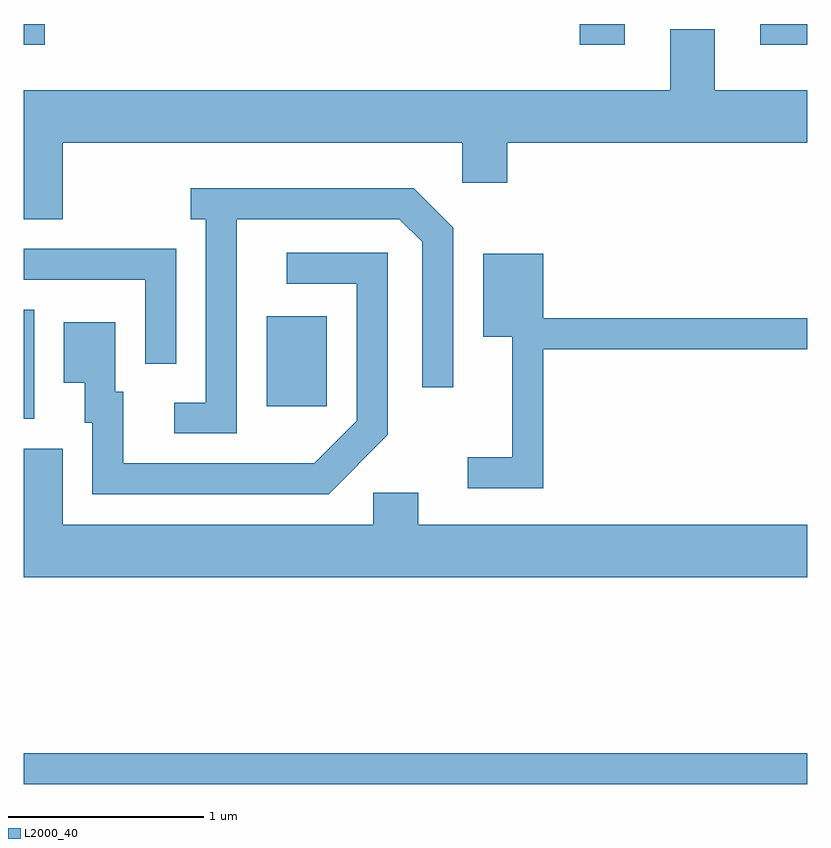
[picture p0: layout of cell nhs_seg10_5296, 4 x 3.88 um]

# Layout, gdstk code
import gdstk
lib = gdstk.Library(unit=1e-6, precision=1e-09)
def R(c, l, rs):  # rectangles x0, y0, x1, y1
    for r in rs: c.add(gdstk.rectangle(r[:2], r[2:], *l))
def P(c, l, *ps):  # polygons
    for p in ps: c.add(gdstk.Polygon(p, *l))
L2000_40 = (2000, 40)

nhs_seg10_5296 = lib.new_cell('nhs_seg10_5296')
R(nhs_seg10_5296, L2000_40, [(341.611,2110.641,345.611,2110.799), (341.611,2112.506,341.664,2113.064), (342.851,2112.571,343.159,2113.029), (341.611,2114.416,341.718,2114.522), (344.451,2114.416,344.679,2114.522), (345.371,2114.416,345.611,2114.522)])
P(nhs_seg10_5296, L2000_40, [(341.809,2113.916),(343.851,2113.916),(343.851,2113.711),(344.079,2113.711),(344.079,2113.916),(345.611,2113.916),(345.611,2114.184),(345.139,2114.184),(345.139,2114.494),(344.911,2114.494),(344.911,2114.184),(341.611,2114.184),(341.611,2113.526),(341.809,2113.526)],
  [(342.699,2113.526),(343.529,2113.526),(343.646,2113.409),(343.646,2112.668),(343.804,2112.668),(343.804,2113.482),(343.602,2113.684),(342.463,2113.684),(342.463,2113.526),(342.541,2113.526),(342.541,2112.589),(342.378,2112.589),(342.378,2112.431),(342.699,2112.431)],
  [(342.389,2113.374),(341.611,2113.374),(341.611,2113.216),(342.231,2113.216),(342.231,2112.788),(342.389,2112.788)],
  [(343.469,2112.424),(343.469,2113.354),(342.953,2113.354),(342.953,2113.196),(343.311,2113.196),(343.311,2112.497),(343.094,2112.279),(342.119,2112.279),(342.119,2112.644),(342.079,2112.644),(342.079,2112.999),(341.816,2112.999),(341.816,2112.691),(341.921,2112.691),(341.921,2112.486),(341.961,2112.486),(341.961,2112.121),(343.167,2112.121)],
  [(344.264,2112.861),(345.611,2112.861),(345.611,2113.019),(344.264,2113.019),(344.264,2113.349),(343.956,2113.349),(343.956,2112.926),(344.106,2112.926),(344.106,2112.309),(343.878,2112.309),(343.878,2112.151),(344.264,2112.151)],
  [(345.611,2111.964),(343.624,2111.964),(343.624,2112.129),(343.396,2112.129),(343.396,2111.964),(341.809,2111.964),(341.809,2112.354),(341.611,2112.354),(341.611,2111.696),(345.611,2111.696)])

lib.write_gds('nhs_seg10_5296.gds')
